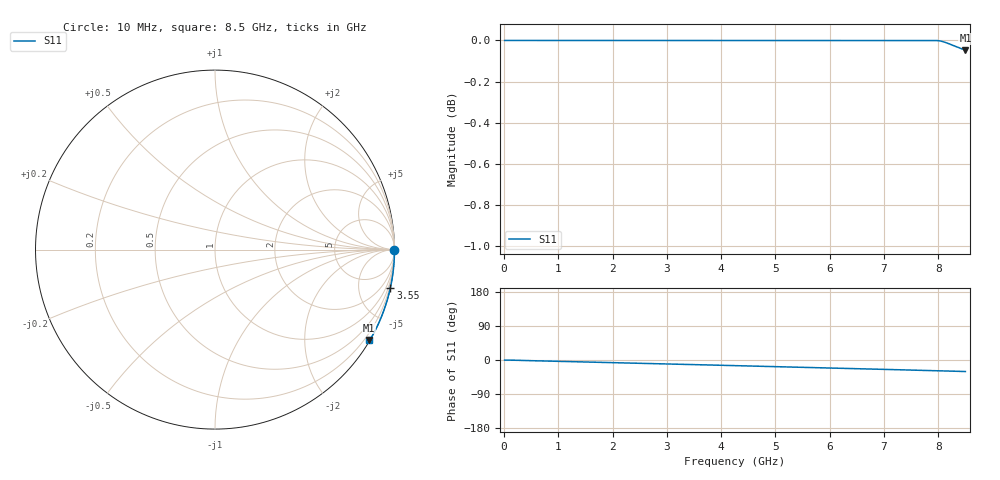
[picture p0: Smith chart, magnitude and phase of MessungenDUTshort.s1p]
# MHZ S DB R 50
!  frequency  S11 dB  S11 Deg
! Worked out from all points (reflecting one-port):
!   850 points, 10 MHz to 8.5 GHz, reference 50 ohm
!   lowest |S11| = 0.0 dB at 8.5 GHz (marker M1), VSWR 370.10, Z = 1.96 - j184 ohm
!   phase of S11 starts at -0 deg and turns -30 deg over the sweep
!   S11 on the Smith chart (normalised r, x): 10 MHz: open; 3.55 GHz: -0.00, -9.25; 8.5 GHz: 0.04, -3.68
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10  0.00 -0.3
90  0.00 -0.5
170  -0.00 -0.5
210  0.00 -0.6
350  0.00 -1.3
870  0.00 -3.0
1010  0.00 -3.6
1080  -0.00 -3.8
1220  -0.00 -4.2
1560  0.00 -5.4
2140  0.00 -7.5
2670  0.00 -9.2
3200  0.00 -11.2
3550  0.00 -12.3
4260  0.00 -14.9
4560  0.00 -16.1
5070  -0.00 -17.8
5320  0.00 -18.8
5830  0.00 -20.7
6080  0.00 -21.7
6250  0.00 -22.4
6380  0.00 -22.8
6650  0.00 -23.5
7440  0.00 -26.3
7750  0.00 -27.4
7940  0.00 -28.2
8190  -0.01 -29.2
8500  -0.05 -30.4
